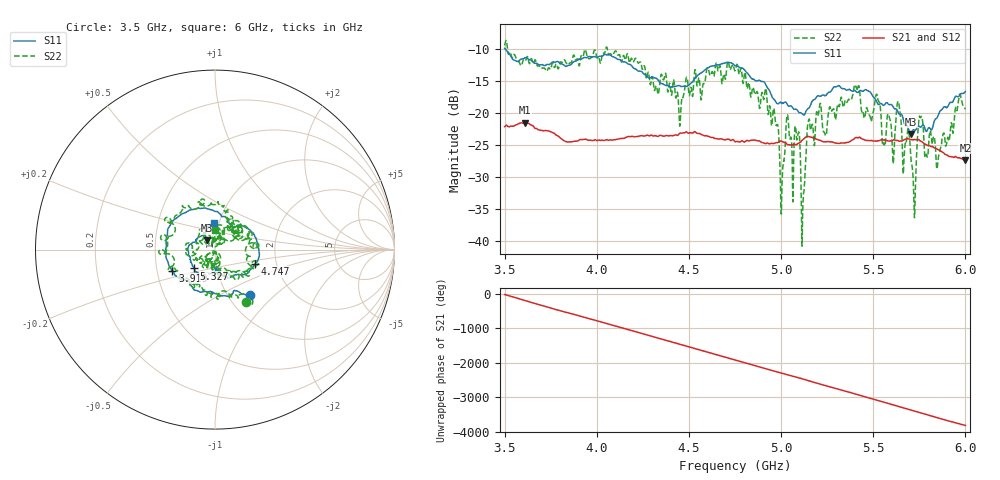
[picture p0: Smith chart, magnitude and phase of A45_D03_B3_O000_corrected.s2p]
! Created with skrf 1.9.0 (http://scikit-rf.org).
# Hz S RI R 50.0
!freq ReS11 ImS11 ReS21 ImS21 ReS12 ImS12 ReS22 ImS22
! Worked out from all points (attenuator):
!   1601 points, 3.5 GHz to 6 GHz, reference 50 ohm
!   highest |S21| = -21.50 dB at 3.609 GHz (marker M1); lowest = -27.3 dB at 6 GHz (marker M2)
!   lowest |S11| = -23.2 dB at 5.703 GHz (marker M3), VSWR 1.15, Z = 45.5 + j4.82 ohm
!   |S11| at or under -10 dB: 3.504 GHz to end of sweep
!   |S22| runs from -40.7 to -8.7 dB; largest |S21 - S12| = 0.00092
!   S11 on the Smith chart (normalised r, x): 3.5 GHz: 1.25, -0.71; 3.919 GHz: 0.60, -0.15; 4.747 GHz: 1.55, -0.26; 5.327 GHz: 0.78, -0.17; 6 GHz: 0.95, +0.28
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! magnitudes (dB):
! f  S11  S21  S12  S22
! 3.5 GHz  -9.9  -22.1  -22.1  -9.5
! 3.609 GHz  -11.4  -21.5  -21.5  -11.8
! 3.917 GHz  -11.6  -24.1  -24.1  -10.9
! 3.919 GHz  -11.5  -24.1  -24.1  -11.0
! 4.334 GHz  -14.9  -23.6  -23.6  -17.0
! 4.455 GHz  -15.8  -23.1  -23.1  -20.5
! 4.747 GHz  -12.5  -24.4  -24.3  -13.3
! 4.75 GHz  -12.6  -24.5  -24.4  -13.4
! 4.969 GHz  -18.1  -24.7  -24.6  -21.3
! 5.005 GHz  -18.4  -24.4  -24.4  -31.4
! 5.033 GHz  -18.6  -24.9  -24.8  -20.3
! 5.088 GHz  -19.5  -24.8  -24.8  -24.1
! 5.119 GHz  -20.2  -24.1  -24.1  -34.0
! 5.145 GHz  -19.3  -23.6  -23.6  -21.6
! 5.167 GHz  -18.2  -23.8  -23.7  -21.9
! 5.327 GHz  -16.1  -24.7  -24.6  -17.5
! 5.584 GHz  -18.7  -24.3  -24.3  -20.2
! 5.703 GHz  -23.2  -24.1  -24.1  -26.5
! 5.72 GHz  -22.6  -24.1  -24.1  -33.1
! 5.756 GHz  -22.2  -24.3  -24.3  -20.7
! 5.852 GHz  -20.4  -25.7  -25.6  -27.4
! 6 GHz  -16.6  -27.3  -27.2  -19.4
